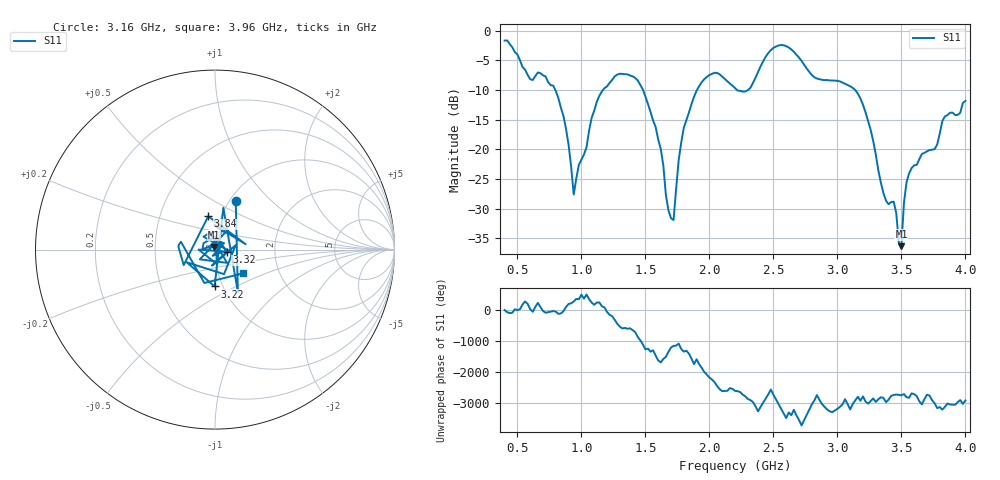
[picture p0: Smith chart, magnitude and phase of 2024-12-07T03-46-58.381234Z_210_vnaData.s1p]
!Created with skrf (http://scikit-rf.org).
# Hz S RI R 50.0
!freq ReS11 ImS11
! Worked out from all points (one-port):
!   181 points, 400 MHz to 4 GHz, reference 50 ohm
!   lowest |S11| = -36.3 dB at 3.5 GHz (marker M1), VSWR 1.03, Z = 49.4 + j1.38 ohm
!   |S11| at or under -10 dB: 796.6 MHz to 1.168 GHz (371.5 MHz wide, 37.8 % of centre); 1.482 GHz to 1.902 GHz (420.7 MHz wide, 24.9 % of centre); 3.14 GHz to end of sweep (the widest 3 of 4)
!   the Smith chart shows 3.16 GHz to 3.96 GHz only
!   S11 on the Smith chart (normalised r, x): 3.16 GHz: 1.07, +0.63; 3.22 GHz: 0.92, -0.39; 3.32 GHz: 1.14, -0.04; 3.84 GHz: 0.87, +0.33; 3.96 GHz: 1.31, -0.36
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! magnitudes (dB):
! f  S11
! 400 MHz  -1.6
! 780 MHz  -9.3
! 860 MHz  -14.4
! 940 MHz  -27.6
! 1.12 GHz  -12.0
! 1.3 GHz  -7.2
! 1.5 GHz  -11.1
! 1.62 GHz  -19.9
! 1.7 GHz  -31.6
! 1.72 GHz  -31.9
! 1.76 GHz  -21.8
! 1.94 GHz  -8.7
! 2.2 GHz  -9.7
! 2.32 GHz  -9.6
! 2.5 GHz  -2.9
! 2.66 GHz  -3.6
! 3.1 GHz  -9.4
! 3.16 GHz  -10.6
! 3.22 GHz  -13.8
! 3.32 GHz  -23.6
! 3.44 GHz  -28.8
! 3.5 GHz  -36.3
! 3.52 GHz  -29.0
! 3.56 GHz  -24.1
! 3.76 GHz  -20.0
! 3.84 GHz  -14.5
! 3.96 GHz  -13.8
! 4 GHz  -11.8
